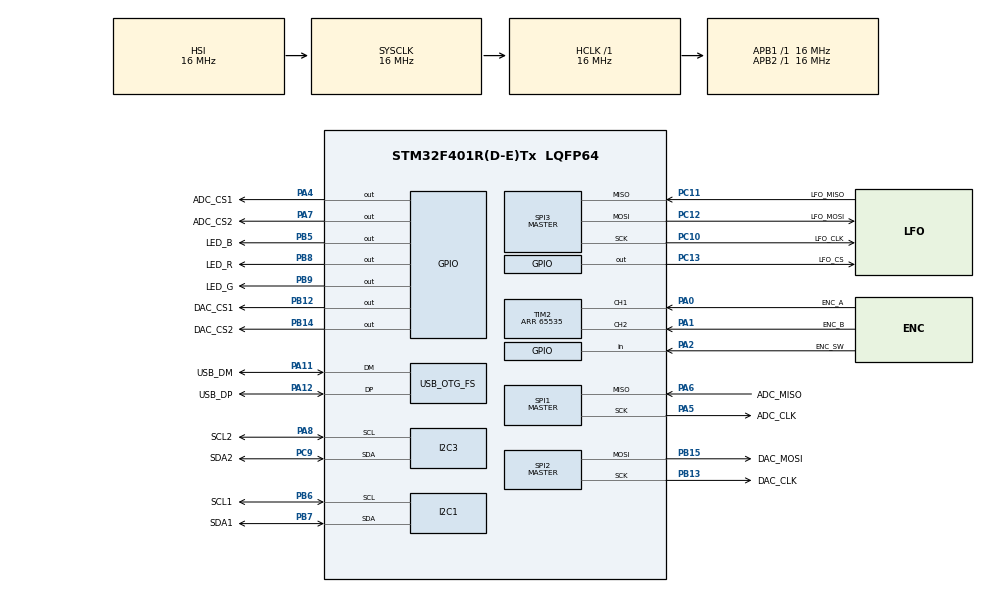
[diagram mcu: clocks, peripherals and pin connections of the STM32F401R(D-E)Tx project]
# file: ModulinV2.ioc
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FREERTOS.Tasks01=userInterface,0,128,userInterface_Init,Default,NULL,Dynamic,NULL,NULL;ADC,0,128,ADC_Init,Default,NULL,Dynamic,NULL,NULL;DAC,0,128,DAC_Init,Default,NULL,Dynamic,NULL,NULL;digiPot,0,128,digiPot_Init,Default,NULL,Dynamic,NULL,NULL;encoder,0,128,encoder_Init,Default,NULL,Dynamic,NULL,NULL
Mcu.Family=STM32F4
Mcu.Name=STM32F401R(D-E)Tx
Mcu.Package=LQFP64
NVIC.OTG_FS_IRQn=true\:5\:0\:false\:false\:true\:true\:false\:true\:true
NVIC.PriorityGroup=NVIC_PRIORITYGROUP_4
NVIC.TIM1_UP_TIM10_IRQn=true\:15\:0\:false\:false\:true\:false\:false\:true\:true
NVIC.TimeBase=TIM1_UP_TIM10_IRQn
NVIC.TimeBaseIP=TIM1
PA0-WKUP.GPIO_Label=ENC_A
PA0-WKUP.Signal=S_TIM2_CH1_ETR
PA1.GPIO_Label=ENC_B
PA1.Signal=S_TIM2_CH2
PA11.GPIO_Label=USB_DM
PA11.Mode=Device_Only
PA11.Signal=USB_OTG_FS_DM
PA12.GPIO_Label=USB_DP
PA12.Mode=Device_Only
PA12.Signal=USB_OTG_FS_DP
PA13.GPIO_Label=SWDIO
PA13.Mode=Trace_Asynchronous_SW
PA13.Signal=SYS_JTMS-SWDIO
PA14.GPIO_Label=SWCLK
PA14.Mode=Trace_Asynchronous_SW
PA14.Signal=SYS_JTCK-SWCLK
PA2.GPIO_Label=ENC_SW
PA2.Signal=GPIO_Input
PA4.GPIO_Label=ADC_CS1
PA4.GPIO_PuPd=GPIO_NOPULL
PA4.Signal=GPIO_Output
PA5.GPIO_Label=ADC_CLK
PA5.GPIO_PuPd=GPIO_NOPULL
PA5.Mode=RX_Only_Simplex_Unidirect_Master
PA5.Signal=SPI1_SCK
PA6.GPIO_Label=ADC_MISO
PA6.Mode=RX_Only_Simplex_Unidirect_Master
PA6.Signal=SPI1_MISO
PA7.GPIO_Label=ADC_CS2
PA7.GPIO_PuPd=GPIO_NOPULL
PA7.Signal=GPIO_Output
PA8.GPIO_Label=SCL2
PA8.Mode=I2C
PA8.Signal=I2C3_SCL
PB12.GPIO_Label=DAC_CS1
PB12.GPIO_PuPd=GPIO_NOPULL
PB12.Signal=GPIO_Output
PB13.GPIO_Label=DAC_CLK
PB13.Mode=TX_Only_Simplex_Unidirect_Master
PB13.Signal=SPI2_SCK
PB14.GPIO_Label=DAC_CS2
PB14.GPIO_PuPd=GPIO_NOPULL
PB14.Signal=GPIO_Output
PB15.GPIO_Label=DAC_MOSI
PB15.Mode=TX_Only_Simplex_Unidirect_Master
PB15.Signal=SPI2_MOSI
PB3.GPIO_Label=SWO
PB3.Mode=Trace_Asynchronous_SW
PB3.Signal=SYS_JTDO-SWO
PB5.GPIO_Label=LED_B
PB5.GPIO_PuPd=GPIO_NOPULL
PB5.Signal=GPIO_Output
PB6.GPIO_Label=SCL1
PB6.Mode=I2C
PB6.Signal=I2C1_SCL
PB7.GPIO_Label=SDA1
PB7.Mode=I2C
PB7.Signal=I2C1_SDA
PB8.GPIO_Label=LED_R
PB8.GPIO_PuPd=GPIO_NOPULL
PB8.Signal=GPIO_Output
PB9.GPIO_Label=LED_G
PB9.GPIO_PuPd=GPIO_NOPULL
PB9.Signal=GPIO_Output
PC10.GPIO_Label=LFO_CLK
PC10.Mode=Full_Duplex_Master
PC10.Signal=SPI3_SCK
PC11.GPIO_Label=LFO_MISO
PC11.Mode=Full_Duplex_Master
PC11.Signal=SPI3_MISO
PC12.GPIO_Label=LFO_MOSI
PC12.Mode=Full_Duplex_Master
PC12.Signal=SPI3_MOSI
PC13-ANTI_TAMP.GPIO_Label=LFO_CS
PC13-ANTI_TAMP.GPIO_PuPd=GPIO_NOPULL
PC13-ANTI_TAMP.Signal=GPIO_Output
PC9.GPIO_Label=SDA2
PC9.Mode=I2C
PC9.Signal=I2C3_SDA
PH0\ -\ OSC_IN.GPIO_Label=OSC1
PH0\ -\ OSC_IN.Mode=HSE-External-Oscillator
PH0\ -\ OSC_IN.Signal=RCC_OSC_IN
PH1\ -\ OSC_OUT.GPIO_Label=OSC2
PH1\ -\ OSC_OUT.Mode=HSE-External-Oscillator
PH1\ -\ OSC_OUT.Signal=RCC_OSC_OUT
ProjectManager.HeapSize=0x200
ProjectManager.StackSize=0x400
ProjectManager.TargetToolchain=CMake
RCC.48MHZClocksFreq_Value=48000000
RCC.AHBFreq_Value=16000000
RCC.APB1Freq_Value=16000000
RCC.APB1TimFreq_Value=16000000
RCC.APB2Freq_Value=16000000
RCC.APB2TimFreq_Value=16000000
RCC.CortexFreq_Value=16000000
RCC.HCLKFreq_Value=16000000
RCC.HSE_VALUE=24000000
RCC.HSI_VALUE=16000000
RCC.LSE_VALUE=32768
RCC.PLLM=12
RCC.PLLN=72
RCC.PLLQ=3
RCC.SYSCLKFreq_VALUE=16000000
RCC.VCOOutputFreq_Value=144000000
SH.S_TIM2_CH1_ETR.0=TIM2_CH1,Encoder_Interface
SH.S_TIM2_CH2.0=TIM2_CH2,Encoder_Interface
SPI1.BaudRatePrescaler=SPI_BAUDRATEPRESCALER_2
SPI1.CLKPhase=SPI_PHASE_2EDGE
SPI1.CLKPolarity=SPI_POLARITY_LOW
SPI1.DataSize=SPI_DATASIZE_16BIT
SPI1.Direction=SPI_DIRECTION_2LINES_RXONLY
SPI1.Mode=SPI_MODE_MASTER
SPI1.VirtualType=VM_MASTER
SPI2.BaudRatePrescaler=SPI_BAUDRATEPRESCALER_16
SPI2.CLKPhase=SPI_PHASE_1EDGE
SPI2.CLKPolarity=SPI_POLARITY_HIGH
SPI2.Direction=SPI_DIRECTION_2LINES
SPI2.Mode=SPI_MODE_MASTER
SPI2.VirtualType=VM_MASTER
SPI3.Direction=SPI_DIRECTION_2LINES
SPI3.Mode=SPI_MODE_MASTER
SPI3.VirtualType=VM_MASTER
TIM2.Period=65535
USB_DEVICE.CLASS_NAME_FS=CDC
USB_DEVICE.VirtualMode-CDC_FS=Cdc
USB_DEVICE.VirtualModeFS=Cdc_FS
USB_OTG_FS.VirtualMode=Device_Only
VP_FREERTOS_VS_CMSIS_V1.Mode=CMSIS_V1
VP_SYS_VS_tim1.Mode=TIM1
VP_USB_DEVICE_VS_USB_DEVICE_CDC_FS.Mode=CDC_FS
board=custom

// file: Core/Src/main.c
/* USER CODE BEGIN Header */
/**
  ******************************************************************************
  * @file           : main.c
  * @brief          : Main program body
  ******************************************************************************
  * @attention
  *
  * Copyright (c) 2025 STMicroelectronics.
  * All rights reserved.
  *
  * This software is licensed under terms that can be found in the LICENSE file
  * in the root directory of this software component.
  * If no LICENSE file comes with this software, it is provided AS-IS.
  *
  ******************************************************************************
  */
/* USER CODE END Header */
#include "main.h"
#include "cmsis_os.h"
#include "usb_device.h"

/* USER CODE BEGIN Includes */
#include "ssd1306.h"
#include "ADS7866.h"
#include "DACx0501.h"
#include "DS3502UP.h"
#include "ssd1306_fonts.h"
#include "ssd1306_tests.h"
#include "usbd_cdc_if.h"
#include "usbd_def.h"
#include <stdio.h>
#include <string.h>
#include <math.h>
/* USER CODE END Includes */

/* USER CODE BEGIN PTD */

// For changing the "mode" of the output DAC
typedef enum {
  OCTAVE,
  OCTAVE2,
  MAJOR,
  MINOR
} scaleMode;

// So that which tuner we select is clearer to understand
typedef enum {
  COARSE1,
  FINE1,
  COARSE2,
  FINE2
} tuners;

// Menu types for selecting in the UI
typedef enum {
  MAIN,
  TUNE,
  ADSR,
  INTERFACE,
  LFO,
  TEST
} page;

// States that the UI can be in
typedef enum {
  BROWSE,
  EDIT
} uiState;

// For showing which direction the encoder has been moved
typedef enum {
  UP,
  DOWN
} direction;

// For describing the goings on of the UI
typedef struct {
  page previousMenu;
  page currentMenu;
  uint8_t previousIndex;
  uint8_t selectionIndex;
  uiState state;
} menu;

// For dealing with encoder parameter changes
typedef struct {
  uint32_t lastCounterValue;
  int32_t parameterValueModifier;
  direction dir;
} encoder;
/* USER CODE END PTD */

/* USER CODE BEGIN PM */

// OLED Parameters
#define FONT Font_7x10
#define CURSOR_PAD 10
#define OLED_WIDTH 128
#define OLED_HEIGHT 64
#define MENU_IDX_MAX 4

// ADC output scale parameters for mapping the output to steps
#define MEMBRANE_MAX 4095.0
#define MEMBRANE_MIN 0
#define GAMMA 1.5

// DAC output value step for ~0.083V
#define DAC_HALFSTEP 136
// DAC output value step for ~0.166V
#define DAC_STEP 272
// DAC output value step for ~1V
#define DAC_OCTAVE 1638

/* USER CODE END PM */

I2C_HandleTypeDef hi2c1;
I2C_HandleTypeDef hi2c3;

SPI_HandleTypeDef hspi1;
SPI_HandleTypeDef hspi2;
SPI_HandleTypeDef hspi3;

TIM_HandleTypeDef htim2;

osThreadId userInterfaceHandle;
osThreadId ADCHandle;
osThreadId DACHandle;
osThreadId digiPotHandle;
osThreadId encoderHandle;
/* USER CODE BEGIN PV */

// For storing values into when printing to OLED or USB
char buffer[256];

// Array of DAC values that line up with the 1 V/OCT standard
uint16_t octave[25] = {0, 137, 273, 409, 546, 682, 819, 956, 1092, 1229, 1365, 1501, 1638,
                        1775, 1911, 2048, 2185, 2321, 2458, 2594, 2731, 2867, 3004, 3140, 3277};

// Structure array of all the ADSR pots
// [0] - Attack, [1] - Decay, [2] - Sustain, [3] - Release
ds3502up adsrPots[4] = {{&hi2c3, ADDR1, 0, 0},
                        {&hi2c3, ADDR2, 0, 0},
                        {&hi2c3, ADDR3, 0, 0},
                        {&hi2c3, ADDR4, 0, 0}};

// Structure array of all the tuning pots
// [0] - Coarse1, [1] - Fine1, [2] - Coarse2, [3] - Fine 2
ds3502up tuningPots[4] = {{&hi2c1, ADDR1, 0, 0},
                          {&hi2c1, ADDR3, 0, 0},
                          {&hi2c1, ADDR2, 0, 0},
                          {&hi2c1, ADDR4, 0, 0}};

// Structure array of both of the string ADC info
ads7866 strings[2] = {{ADC_CS1_GPIO_Port, ADC_CS1_Pin, &hspi1},
                      {ADC_CS2_GPIO_Port, ADC_CS2_Pin, &hspi1}};

// Structure array for both CV outputs
dacx0501 pitchCV [2] = {{DAC_CS1_GPIO_Port, DAC_CS1_Pin, &hspi2},
                        {DAC_CS2_GPIO_Port, DAC_CS2_Pin, &hspi2}};

// Pattern for major and minor keys
// Number corresponds to the number of half steps from root
const uint8_t maj[8] = {0, 2 ,4, 5, 7, 9, 11, 12};
const uint8_t min[8] = {0, 2, 3, 5, 7, 8, 10, 12};

// UI structures
menu oled = {TEST, MAIN, 1, 0, BROWSE};
encoder knob = {0, 0, UP};

// For changing the quantizing mode
scaleMode scale = OCTAVE;

// Current output mode
// mode outputMode = OCTAVE;

/* USER CODE END PV */

void SystemClock_Config(void);
static void MX_GPIO_Init(void);
static void MX_I2C1_Init(void);
static void MX_I2C3_Init(void);
static void MX_SPI1_Init(void);
static void MX_SPI2_Init(void);
static void MX_SPI3_Init(void);
static void MX_TIM2_Init(void);
void userInterface_Init(void const * argument);
void ADC_Init(void const * argument);
void DAC_Init(void const * argument);
void digiPot_Init(void const * argument);
void encoder_Init(void const * argument);

/* USER CODE BEGIN PFP */

// For changing the RGB LED colors
void RGB(uint8_t red, uint8_t green, uint8_t blue);

// Initializes all the required preipherials needed for the application
void PeriphInit(void);

// void USBWrite(unsigned char* msg);

// Shorthand function for sending text to the OLED
void OLEDWrite(char* msg, uint8_t x, uint8_t y);

// Changes the menu to the selected one
void ChangeMenu(page select);

// Maps the given value to descrete steps
uint16_t Map(uint16_t x, int step);
/* USER CODE END PFP */

int main(void)
{

  /* MCU Configuration--------------------------------------------------------*/

  /* Reset of all peripherals, Initializes the Flash interface and the Systick. */
  HAL_Init();

  /* Configure the system clock */
  SystemClock_Config();

  /* Initialize all configured peripherals */
  MX_GPIO_Init();
  MX_I2C1_Init();
  MX_I2C3_Init();
  MX_SPI1_Init();
  MX_SPI2_Init();
  MX_SPI3_Init();
  MX_TIM2_Init();
  /* USER CODE BEGIN 2 */

  // Initialize required preipherals
  PeriphInit();

  /* USER CODE END 2 */

  /* Create the thread(s) */
  /* definition and creation of userInterface */
  osThreadDef(userInterface, userInterface_Init, osPriorityNormal, 0, 128);
  userInterfaceHandle = osThreadCreate(osThread(userInterface), NULL);

  /* definition and creation of ADC */
  osThreadDef(ADC, ADC_Init, osPriorityNormal, 0, 128);
  ADCHandle = osThreadCreate(osThread(ADC), NULL);

  /* definition and creation of DAC */
  osThreadDef(DAC, DAC_Init, osPriorityNormal, 0, 128);
  DACHandle = osThreadCreate(osThread(DAC), NULL);

  /* definition and creation of digiPot */
  osThreadDef(digiPot, digiPot_Init, osPriorityNormal, 0, 128);
  digiPotHandle = osThreadCreate(osThread(digiPot), NULL);

  /* definition and creation of encoder */
  osThreadDef(encoder, encoder_Init, osPriorityNormal, 0, 128);
  encoderHandle = osThreadCreate(osThread(encoder), NULL);

  /* Start scheduler */
  osKernelStart();

  /* We should never get here as control is now taken by the scheduler */

  /* Infinite loop */
  while (1)
  {

  }
}

void SystemClock_Config(void)
{
  RCC_OscInitTypeDef RCC_OscInitStruct = {0};
  RCC_ClkInitTypeDef RCC_ClkInitStruct = {0};

  /** Configure the main internal regulator output voltage
  */
  __HAL_RCC_PWR_CLK_ENABLE();
  __HAL_PWR_VOLTAGESCALING_CONFIG(PWR_REGULATOR_VOLTAGE_SCALE2);

  /** Initializes the RCC Oscillators according to the specified parameters
  * in the RCC_OscInitTypeDef structure.
  */
  RCC_OscInitStruct.OscillatorType = RCC_OSCILLATORTYPE_HSI|RCC_OSCILLATORTYPE_HSE;
  RCC_OscInitStruct.HSEState = RCC_HSE_ON;
  RCC_OscInitStruct.HSIState = RCC_HSI_ON;
  RCC_OscInitStruct.HSICalibrationValue = RCC_HSICALIBRATION_DEFAULT;
  RCC_OscInitStruct.PLL.PLLState = RCC_PLL_ON;
  RCC_OscInitStruct.PLL.PLLSource = RCC_PLLSOURCE_HSE;
  RCC_OscInitStruct.PLL.PLLM = 12;
  RCC_OscInitStruct.PLL.PLLN = 72;
  RCC_OscInitStruct.PLL.PLLP = RCC_PLLP_DIV2;
  RCC_OscInitStruct.PLL.PLLQ = 3;
  if (HAL_RCC_OscConfig(&RCC_OscInitStruct) != HAL_OK)
  {
    Error_Handler();
  }

  /** Initializes the CPU, AHB and APB buses clocks
  */
  RCC_ClkInitStruct.ClockType = RCC_CLOCKTYPE_HCLK|RCC_CLOCKTYPE_SYSCLK
                              |RCC_CLOCKTYPE_PCLK1|RCC_CLOCKTYPE_PCLK2;
  RCC_ClkInitStruct.SYSCLKSource = RCC_SYSCLKSOURCE_HSI;
  RCC_ClkInitStruct.AHBCLKDivider = RCC_SYSCLK_DIV1;
  RCC_ClkInitStruct.APB1CLKDivider = RCC_HCLK_DIV1;
  RCC_ClkInitStruct.APB2CLKDivider = RCC_HCLK_DIV1;

  if (HAL_RCC_ClockConfig(&RCC_ClkInitStruct, FLASH_LATENCY_0) != HAL_OK)
  {
    Error_Handler();
  }
}

static void MX_I2C1_Init(void)
{

  hi2c1.Instance = I2C1;
  hi2c1.Init.ClockSpeed = 100000;
  hi2c1.Init.DutyCycle = I2C_DUTYCYCLE_2;
  hi2c1.Init.OwnAddress1 = 0;
  hi2c1.Init.AddressingMode = I2C_ADDRESSINGMODE_7BIT;
  hi2c1.Init.DualAddressMode = I2C_DUALADDRESS_DISABLE;
  hi2c1.Init.OwnAddress2 = 0;
  hi2c1.Init.GeneralCallMode = I2C_GENERALCALL_DISABLE;
  hi2c1.Init.NoStretchMode = I2C_NOSTRETCH_DISABLE;
  if (HAL_I2C_Init(&hi2c1) != HAL_OK)
  {
    Error_Handler();
  }

}

static void MX_I2C3_Init(void)
{

  hi2c3.Instance = I2C3;
  hi2c3.Init.ClockSpeed = 100000;
  hi2c3.Init.DutyCycle = I2C_DUTYCYCLE_2;
  hi2c3.Init.OwnAddress1 = 0;
  hi2c3.Init.AddressingMode = I2C_ADDRESSINGMODE_7BIT;
  hi2c3.Init.DualAddressMode = I2C_DUALADDRESS_DISABLE;
  hi2c3.Init.OwnAddress2 = 0;
  hi2c3.Init.GeneralCallMode = I2C_GENERALCALL_DISABLE;
  hi2c3.Init.NoStretchMode = I2C_NOSTRETCH_DISABLE;
  if (HAL_I2C_Init(&hi2c3) != HAL_OK)
  {
    Error_Handler();
  }

}

static void MX_SPI1_Init(void)
{

  /* SPI1 parameter configuration*/
  hspi1.Instance = SPI1;
  hspi1.Init.Mode = SPI_MODE_MASTER;
  hspi1.Init.Direction = SPI_DIRECTION_2LINES_RXONLY;
  hspi1.Init.DataSize = SPI_DATASIZE_16BIT;
  hspi1.Init.CLKPolarity = SPI_POLARITY_LOW;
  hspi1.Init.CLKPhase = SPI_PHASE_2EDGE;
  hspi1.Init.NSS = SPI_NSS_SOFT;
  hspi1.Init.BaudRatePrescaler = SPI_BAUDRATEPRESCALER_2;
  hspi1.Init.FirstBit = SPI_FIRSTBIT_MSB;
  hspi1.Init.TIMode = SPI_TIMODE_DISABLE;
  hspi1.Init.CRCCalculation = SPI_CRCCALCULATION_DISABLE;
  hspi1.Init.CRCPolynomial = 10;
  if (HAL_SPI_Init(&hspi1) != HAL_OK)
  {
    Error_Handler();
  }

}

static void MX_SPI2_Init(void)
{

  /* SPI2 parameter configuration*/
  hspi2.Instance = SPI2;
  hspi2.Init.Mode = SPI_MODE_MASTER;
  hspi2.Init.Direction = SPI_DIRECTION_2LINES;
  hspi2.Init.DataSize = SPI_DATASIZE_8BIT;
  hspi2.Init.CLKPolarity = SPI_POLARITY_HIGH;
  hspi2.Init.CLKPhase = SPI_PHASE_1EDGE;
  hspi2.Init.NSS = SPI_NSS_SOFT;
  hspi2.Init.BaudRatePrescaler = SPI_BAUDRATEPRESCALER_16;
  hspi2.Init.FirstBit = SPI_FIRSTBIT_MSB;
  hspi2.Init.TIMode = SPI_TIMODE_DISABLE;
  hspi2.Init.CRCCalculation = SPI_CRCCALCULATION_DISABLE;
  hspi2.Init.CRCPolynomial = 10;
  if (HAL_SPI_Init(&hspi2) != HAL_OK)
  {
    Error_Handler();
  }

}

static void MX_SPI3_Init(void)
{

  /* SPI3 parameter configuration*/
  hspi3.Instance = SPI3;
  hspi3.Init.Mode = SPI_MODE_MASTER;
  hspi3.Init.Direction = SPI_DIRECTION_2LINES;
  hspi3.Init.DataSize = SPI_DATASIZE_8BIT;
  hspi3.Init.CLKPolarity = SPI_POLARITY_LOW;
  hspi3.Init.CLKPhase = SPI_PHASE_1EDGE;
  hspi3.Init.NSS = SPI_NSS_SOFT;
  hspi3.Init.BaudRatePrescaler = SPI_BAUDRATEPRESCALER_2;
  hspi3.Init.FirstBit = SPI_FIRSTBIT_MSB;
  hspi3.Init.TIMode = SPI_TIMODE_DISABLE;
  hspi3.Init.CRCCalculation = SPI_CRCCALCULATION_DISABLE;
  hspi3.Init.CRCPolynomial = 10;
  if (HAL_SPI_Init(&hspi3) != HAL_OK)
  {
    Error_Handler();
  }

}

static void MX_TIM2_Init(void)
{

  TIM_Encoder_InitTypeDef sConfig = {0};
  TIM_MasterConfigTypeDef sMasterConfig = {0};

  htim2.Instance = TIM2;
  htim2.Init.Prescaler = 0;
  htim2.Init.CounterMode = TIM_COUNTERMODE_UP;
  htim2.Init.Period = 65535;
  htim2.Init.ClockDivision = TIM_CLOCKDIVISION_DIV1;
  htim2.Init.AutoReloadPreload = TIM_AUTORELOAD_PRELOAD_DISABLE;
  sConfig.EncoderMode = TIM_ENCODERMODE_TI1;
  sConfig.IC1Polarity = TIM_ICPOLARITY_RISING;
  sConfig.IC1Selection = TIM_ICSELECTION_DIRECTTI;
  sConfig.IC1Prescaler = TIM_ICPSC_DIV1;
  sConfig.IC1Filter = 0;
  sConfig.IC2Polarity = TIM_ICPOLARITY_RISING;
  sConfig.IC2Selection = TIM_ICSELECTION_DIRECTTI;
  sConfig.IC2Prescaler = TIM_ICPSC_DIV1;
  sConfig.IC2Filter = 0;
  if (HAL_TIM_Encoder_Init(&htim2, &sConfig) != HAL_OK)
  {
    Error_Handler();
  }
  sMasterConfig.MasterOutputTrigger = TIM_TRGO_RESET;
  sMasterConfig.MasterSlaveMode = TIM_MASTERSLAVEMODE_DISABLE;
  if (HAL_TIMEx_MasterConfigSynchronization(&htim2, &sMasterConfig) != HAL_OK)
  {
    Error_Handler();
  }

}

static void MX_GPIO_Init(void)
{
  GPIO_InitTypeDef GPIO_InitStruct = {0};

  /* GPIO Ports Clock Enable */
  __HAL_RCC_GPIOC_CLK_ENABLE();
  __HAL_RCC_GPIOH_CLK_ENABLE();
  __HAL_RCC_GPIOA_CLK_ENABLE();
  __HAL_RCC_GPIOB_CLK_ENABLE();

  /*Configure GPIO pin Output Level */
  HAL_GPIO_WritePin(LFO_CS_GPIO_Port, LFO_CS_Pin, GPIO_PIN_RESET);

  /*Configure GPIO pin Output Level */
  HAL_GPIO_WritePin(GPIOA, ADC_CS1_Pin|ADC_CS2_Pin, GPIO_PIN_RESET);

  /*Configure GPIO pin Output Level */
  HAL_GPIO_WritePin(GPIOB, DAC_CS1_Pin|DAC_CS2_Pin|LED_B_Pin|LED_R_Pin
                          |LED_G_Pin, GPIO_PIN_RESET);

  /*Configure GPIO pin : LFO_CS_Pin */
  GPIO_InitStruct.Pin = LFO_CS_Pin;
  GPIO_InitStruct.Mode = GPIO_MODE_OUTPUT_PP;
  GPIO_InitStruct.Pull = GPIO_NOPULL;
  GPIO_InitStruct.Speed = GPIO_SPEED_FREQ_LOW;
  HAL_GPIO_Init(LFO_CS_GPIO_Port, &GPIO_InitStruct);

  /*Configure GPIO pin : ENC_SW_Pin */
  GPIO_InitStruct.Pin = ENC_SW_Pin;
  GPIO_InitStruct.Mode = GPIO_MODE_INPUT;
  GPIO_InitStruct.Pull = GPIO_NOPULL;
  HAL_GPIO_Init(ENC_SW_GPIO_Port, &GPIO_InitStruct);

  /*Configure GPIO pins : ADC_CS1_Pin ADC_CS2_Pin */
  GPIO_InitStruct.Pin = ADC_CS1_Pin|ADC_CS2_Pin;
  GPIO_InitStruct.Mode = GPIO_MODE_OUTPUT_PP;
  GPIO_InitStruct.Pull = GPIO_NOPULL;
  GPIO_InitStruct.Speed = GPIO_SPEED_FREQ_LOW;
  HAL_GPIO_Init(GPIOA, &GPIO_InitStruct);

  /*Configure GPIO pins : DAC_CS1_Pin DAC_CS2_Pin LED_B_Pin LED_R_Pin
                           LED_G_Pin */
  GPIO_InitStruct.Pin = DAC_CS1_Pin|DAC_CS2_Pin|LED_B_Pin|LED_R_Pin
                          |LED_G_Pin;
  GPIO_InitStruct.Mode = GPIO_MODE_OUTPUT_PP;
  GPIO_InitStruct.Pull = GPIO_NOPULL;
  GPIO_InitStruct.Speed = GPIO_SPEED_FREQ_LOW;
  HAL_GPIO_Init(GPIOB, &GPIO_InitStruct);

}

/* USER CODE BEGIN 4 */

// Allows the switching of LED pins with one function
// 1 - LED off, 0 - LED on
void RGB(uint8_t red, uint8_t green, uint8_t blue) {
  HAL_GPIO_WritePin(LED_R_GPIO_Port, LED_R_Pin, red);
  HAL_GPIO_WritePin(LED_G_GPIO_Port, LED_G_Pin, green);
  HAL_GPIO_WritePin(LED_B_GPIO_Port, LED_B_Pin, blue);
}

/* void USBWrite(unsigned char* msg) {
  CDC_Transmit_FS(msg, strlen((char*)msg));
} */

void OLEDWrite(char* msg, uint8_t x, uint8_t y) {
  ssd1306_SetCursor(x, y);
  ssd1306_WriteString(msg, FONT, White);
}

void PeriphInit(void) {
  // Turn off all the LEDs
  RGB(1, 1, 1);

  // SPI: Set all the CS pins to High
  HAL_GPIO_WritePin(ADC_CS1_GPIO_Port, ADC_CS1_Pin, GPIO_PIN_SET);
  HAL_GPIO_WritePin(ADC_CS2_GPIO_Port, ADC_CS2_Pin, GPIO_PIN_SET);
  HAL_GPIO_WritePin(DAC_CS1_GPIO_Port, DAC_CS1_Pin, GPIO_PIN_SET);
  HAL_GPIO_WritePin(DAC_CS2_GPIO_Port, DAC_CS2_Pin, GPIO_PIN_SET);
  HAL_GPIO_WritePin(LFO_CS_GPIO_Port, LFO_CS_Pin, GPIO_PIN_SET);

  // Start timer peripheral for counting encoder ticks
  HAL_TIM_Encoder_Start(&htim2, TIM_CHANNEL_ALL);

  // Initialize the OLED for debugging and UI
  ssd1306_Init();

  // Configure the DACs
  ConfDACX051(&pitchCV[0]);
  ConfDACX051(&pitchCV[1]);

  // Get the values the digipots are at
  GetDS3502UP(&tuningPots[COARSE1]);
  GetDS3502UP(&tuningPots[COARSE2]);
  GetDS3502UP(&tuningPots[FINE1]);
  GetDS3502UP(&tuningPots[FINE2]);
  GetDS3502UP(&adsrPots[0]);
  GetDS3502UP(&adsrPots[1]);
  GetDS3502UP(&adsrPots[2]);
  GetDS3502UP(&adsrPots[3]);
}

void ChangeMenu(page select) {
  // Delete previous menu
  ssd1306_Fill(Black);

  // Show the fields of the given menu
  switch (select) {
    case MAIN:
      OLEDWrite("Tuning", CURSOR_PAD, 0);
      OLEDWrite("ADSR", CURSOR_PAD, 10);
      OLEDWrite("Interface", CURSOR_PAD, 20);
      OLEDWrite("LFO", CURSOR_PAD, 30);
      OLEDWrite("DEBUG", CURSOR_PAD, 40);
      break;

    case TUNE:
      OLEDWrite("BACK", CURSOR_PAD, 0);
      OLEDWrite("Coarse 1", CURSOR_PAD, 10);
      OLEDWrite("Fine 1", CURSOR_PAD, 20);
      OLEDWrite("Coarse 2", CURSOR_PAD, 30);
      OLEDWrite("Fine 2", CURSOR_PAD, 40);
      break;

    case ADSR:
      OLEDWrite("BACK", CURSOR_PAD, 0);
      OLEDWrite("Attack", CURSOR_PAD, 10);
      OLEDWrite("Decay", CURSOR_PAD, 20);
      OLEDWrite("Sustain", CURSOR_PAD, 30);
      OLEDWrite("Release", CURSOR_PAD, 40);
      break;

    case INTERFACE:
      // TODO: Fill interface parameter menu up with
      // nice-to-have features (Like Root note selection)
      OLEDWrite("BACK", CURSOR_PAD, 0);
      OLEDWrite("Mode", CURSOR_PAD, 10);
      OLEDWrite("-", CURSOR_PAD, 20);
      OLEDWrite("-", CURSOR_PAD, 30);
      OLEDWrite("-", CURSOR_PAD, 40);
      break;

    case LFO:
      // TODO: Fill LFO parameter menu up when driver is
      // ready to be tested
      OLEDWrite("BACK", CURSOR_PAD, 0);
      OLEDWrite("-", CURSOR_PAD, 10);
      OLEDWrite("-", CURSOR_PAD, 20);
      OLEDWrite("-", CURSOR_PAD, 30);
      OLEDWrite("-", CURSOR_PAD, 40);
      break;

    case TEST:
      // This menu is left intentionally blank to be able to
      // fill with any values you would want to debug
      OLEDWrite("BACK", CURSOR_PAD, 0);
      break;
  }
  ssd1306_UpdateScreen();

  oled.currentMenu = select;
}

uint16_t Map(uint16_t x, int step) {
	// x * step / (MEMBRANE_MAX - MEMBRANE_MAX) + out_min;
	return (x - MEMBRANE_MIN) * step / (MEMBRANE_MAX - MEMBRANE_MIN);

  /*
  // Normalize to 0–1
  double t = (x - MEMBRANE_MIN) / (MEMBRANE_MAX - MEMBRANE_MIN);

  // Clamp (important for safety)
  if (t < 0.0) t = 0.0;
  if (t > 1.0) t = 1.0;

  // Apply exponential curve
  double y = step * (t * (1.5 - 0.5 * t));

  // Convert to integer (choose one)
  return (uint16_t)(y + 0.5);  // round to nearest */
}

/* USER CODE END 4 */

void userInterface_Init(void const * argument)
{
  /* init code for USB_DEVICE */
  MX_USB_DEVICE_Init();
  /* USER CODE BEGIN 5 */

  /* Infinite loop */
  for(;;)
  {
    switch (oled.state) {
      case BROWSE:
        if (oled.currentMenu == TEST) {
          // Show debugging info on OLED

          // ADC value
          sprintf(buffer, "Str: %4d, %4d\n\r", strings[0].value, strings[1].value);
          OLEDWrite(buffer, CURSOR_PAD, 10);
          // DAC value
          sprintf(buffer, "DAC: %5d, %2d", pitchCV[1].currentValue >> 4, Map(strings[0].value, 18));
          OLEDWrite(buffer, CURSOR_PAD, 20);
        }

        if (oled.previousMenu != oled.currentMenu) {
          // Update the OLED to the new menu
          ChangeMenu(oled.currentMenu);

          // Delete any and all cursors
          ssd1306_FillRectangle(0, 0, CURSOR_PAD, OLED_HEIGHT, Black);

          if (oled.currentMenu == MAIN) {
            // Returning to the main page will set the cursor to the position of the previous menu
            ssd1306_FillCircle(5, 5 + 10 * (oled.previousMenu - 1), 3, White);
            // oled.selectionIndex = oled.previousMenu - 1;
          }
          else {
            // Othewise the cursor will be placed on the first selection
            ssd1306_FillCircle(5, 5, 3, White);
            oled.selectionIndex = 0;
          }
          // Update the previous menu field to the current one
          // So that the previous logic can be made again
          oled.previousMenu = oled.currentMenu;
        }

        // Logic for displaying the cursor position
        if (oled.previousIndex != oled.selectionIndex) {

          // Delete any and all cursors
          ssd1306_FillRectangle(0, 0, CURSOR_PAD, OLED_HEIGHT, Black);

          // Make a new cursor at the selection index
          ssd1306_FillCircle(5, 5 + 10 * oled.selectionIndex, 3, White);

          // Set the previous indec to the current one
          // So that the previous logic can be made again
          oled.previousIndex = oled.selectionIndex;
        }

        ssd1306_UpdateScreen();
        break;

      case EDIT:
        switch (oled.currentMenu) {
          case TUNE:
            // Restrict the parameter value between 127 and 0, because
            // the DS3502U+ chips are 7-bit (0 - 0x7F)
            if (knob.parameterValueModifier > 0x7F)
              knob.parameterValueModifier = 0x7F;

            else if (knob.parameterValueModifier < 0)
              knob.parameterValueModifier = 0;

            // Display editable value
            sprintf(buffer, "%3ld", knob.parameterValueModifier);
            OLEDWrite(buffer, 100, 10 * oled.selectionIndex);
            ssd1306_UpdateScreen();

            tuningPots[oled.selectionIndex - 1].newValue = knob.parameterValueModifier;
            break;
          case ADSR:
            // Restrict the parameter value between 127 and 0, because
            // the DS3502U+ chips are 7-bit (0 - 0x7F)
            if (knob.parameterValueModifier > 0x7F)
              knob.parameterValueModifier = 0x7F;

            else if (knob.parameterValueModifier < 0)
              knob.parameterValueModifier = 0;

            // Display editable value
            sprintf(buffer, "%3ld", knob.parameterValueModifier);
            OLEDWrite(buffer, 100, 10 * oled.selectionIndex);
            ssd1306_UpdateScreen();

            adsrPots[oled.selectionIndex - 1].newValue = knob.parameterValueModifier;
            break;
          case INTERFACE:
            if (knob.parameterValueModifier > 3)
              knob.parameterValueModifier = 3;

            else if (knob.parameterValueModifier < 0)
              knob.parameterValueModifier = 0;

            scale = knob.parameterValueModifier;

            // Display editable value
            switch (scale) {
              case OCTAVE:
                OLEDWrite("OCT", 100, 10 * oled.selectionIndex);
                break;
              case OCTAVE2:
                OLEDWrite("OCT2", 100, 10 * oled.selectionIndex);
                break;
              case MAJOR:
                OLEDWrite("MAJ", 100, 10 * oled.selectionIndex);
                break;
              case MINOR:
                OLEDWrite("MIN", 100, 10 * oled.selectionIndex);
                break;
            }
            ssd1306_UpdateScreen();

            break;
          case LFO:
            // TODO: Integrate LFO library with code
            break;
          default:
            break;
        }
        break;
    }
  }
  /* USER CODE END 5 */
}

void ADC_Init(void const * argument)
{
  /* USER CODE BEGIN ADC_Init */
  /* Infinite loop */
  for(;;)
  {
    // Constantly poll for new user input values
    GetADS7866(&strings[0]);
    GetADS7866(&strings[1]);
    osDelay(1);
  }
  /* USER CODE END ADC_Init */
}

void DAC_Init(void const * argument)
{
  /* USER CODE BEGIN DAC_Init */
  uint8_t steps, currentStep0, currentStep1;
  /* Infinite loop */
  for(;;)
  {
    // Change the amount of steps
    switch (scale) {
      case OCTAVE: // 12 notes in an octave
        steps = 12;
        break;
      case OCTAVE2: // 24 in two octaves
        steps = 24;
        break;
      case MAJOR: // Major and minor have 7 notes (3 octaves)
      case MINOR:
        steps = 18;
        break;
    }
    // Get the steps the inputs are at
    currentStep0 = Map(strings[1].value, steps);
    currentStep1 = Map(strings[0].value, steps);

    // Major/minor do not have an equal distance between notes
    // so they need special consideration
    if (scale == MAJOR) {
      // Dividing by 7 rounds down to the nearest int and gets which octave it's in
      // Module 6 gets which note in the scale has been chosen
      pitchCV[0].newValue = ((uint8_t)(currentStep0 / 7) * DAC_OCTAVE) + (maj[currentStep0 % 7] * DAC_HALFSTEP);
      pitchCV[1].newValue = ((uint8_t)(currentStep1 / 7) * DAC_OCTAVE) + (maj[currentStep1 % 7] * DAC_HALFSTEP);
    }
    else if (scale == MINOR) {
      // Dividing by 7 rounds down to the nearest int and gets which octave it's in
      // Module 6 gets which note in the scale has been chosen
      pitchCV[0].newValue = ((uint8_t)(currentStep0 / 7) * DAC_OCTAVE) + (min[currentStep0 % 7] * DAC_HALFSTEP);
      pitchCV[1].newValue = ((uint8_t)(currentStep1 / 7) * DAC_OCTAVE) + (min[currentStep1 % 7] * DAC_HALFSTEP);
    }
    else {
      pitchCV[0].newValue = octave[currentStep0];
      pitchCV[1].newValue = octave[currentStep1];
    }

    // Don't change the value of the DAC unless it has changed
    if (pitchCV[0].currentValue != pitchCV[0].newValue)
      SetDACX0501(&pitchCV[0]);

    if (pitchCV[1].currentValue != pitchCV[1].newValue)
      SetDACX0501(&pitchCV[1]);

    osDelay(1);
  }
  /* USER CODE END DAC_Init */
}

void digiPot_Init(void const * argument)
{
  /* USER CODE BEGIN digiPot_Init */
  /* Infinite loop */
  for(;;)
  {
    // Don't change the potentiometer values unless the value has been changed
    // Coarse1
    if (tuningPots[COARSE1].newValue != tuningPots[COARSE1].currentValue)
      SetDS3502UP(&tuningPots[COARSE1]);

    // Coarse2
    if (tuningPots[COARSE2].newValue != tuningPots[COARSE2].currentValue)
      SetDS3502UP(&tuningPots[COARSE2]);

    // Fine1
    if (tuningPots[FINE1].newValue != tuningPots[FINE1].currentValue)
      SetDS3502UP(&tuningPots[FINE1]);

    // Fine2
    if (tuningPots[FINE2].newValue != tuningPots[FINE2].currentValue)
      SetDS3502UP(&tuningPots[FINE2]);

    // Attack
    if (adsrPots[0].newValue != adsrPots[0].currentValue)
      SetDS3502UP(&adsrPots[0]);

    // Decay
    if (adsrPots[1].newValue != adsrPots[1].currentValue)
      SetDS3502UP(&adsrPots[1]);

    // Sustain
    if (adsrPots[2].newValue != adsrPots[2].currentValue)
      SetDS3502UP(&adsrPots[2]);

    // Release
    if (adsrPots[3].newValue != adsrPots[3].currentValue)
      SetDS3502UP(&adsrPots[3]);

    osDelay(1);
  }
  /* USER CODE END digiPot_Init */
}

void encoder_Init(void const * argument)
{
  /* USER CODE BEGIN encoder_Init */
  uint32_t currentCounterValue;
  uint8_t pressed = 0;

  /* Infinite loop */
  for(;;)
  {
    currentCounterValue = (TIM2->CNT) >> 1;

    if (currentCounterValue != knob.lastCounterValue) {
      // Get whether the direction bit of the ControlRegister1 indicates
      // an up or down movement
      knob.dir = (TIM2->CR1 & TIM_CR1_DIR) ? DOWN: UP;

      switch (oled.state) {
        // Mode where you're navigating the menus
        case BROWSE:
          // Based on whether the direction was down or up, change the
          // selection index accordingly
          if (knob.dir == UP) {
            if (oled.selectionIndex + 1 <= MENU_IDX_MAX)
              oled.selectionIndex++;
          }
          else {
            if (oled.selectionIndex - 1 >= 0)
              oled.selectionIndex--;
          }
          break;

        // Mode where you're changing the parameter value
        case EDIT:
          if (knob.dir == UP)
            knob.parameterValueModifier++;
          else
            knob.parameterValueModifier--;
          break;
      }

      knob.lastCounterValue = currentCounterValue;
    }

    if (HAL_GPIO_ReadPin(ENC_SW_GPIO_Port, ENC_SW_Pin) && !pressed) {
      // In the main menu, clicking the encoder changes menu to the
      // according index
      if (oled.currentMenu == MAIN) {
        oled.currentMenu = oled.selectionIndex + 1; // +1, because index 0 is MAIN
      }

      else {
        // The first selection of each submenu is the BACK button
        // which takes you to the MAIN menu
        if (oled.selectionIndex == 0) {
          oled.currentMenu = MAIN;
        }

        else {
          // Set the beginning value for the given parameter(s) that have NVMemory
          switch (oled.currentMenu) {
            case TUNE:
              knob.parameterValueModifier = tuningPots[oled.selectionIndex - 1].currentValue;
              break;
            case ADSR:
              knob.parameterValueModifier = adsrPots[oled.selectionIndex - 1].currentValue;
              break;
            default:
              knob.parameterValueModifier = 0;
              break;
          }

          // Delete anything that might've been at the end sector of the OLED
          ssd1306_FillRectangle(100, 0, 128, 64, Black);

          // Toggle the state from BROWSE to EDIT or vice versa
          oled.state ^= EDIT;
        }
      }
      // Latch the pressed value to 1 so that it doesn't keep toggling
      pressed = 1;
    }
    else if (!HAL_GPIO_ReadPin(ENC_SW_GPIO_Port, ENC_SW_Pin)) {
      // Unlatch the button press
      pressed = 0;
    }

    osDelay(1);
  }
  /* USER CODE END encoder_Init */
}

void HAL_TIM_PeriodElapsedCallback(TIM_HandleTypeDef *htim)
{
  if (htim->Instance == TIM1)
  {
    HAL_IncTick();
  }
}

void Error_Handler(void)
{
  __disable_irq();
  while (1)
  {
  }
}
